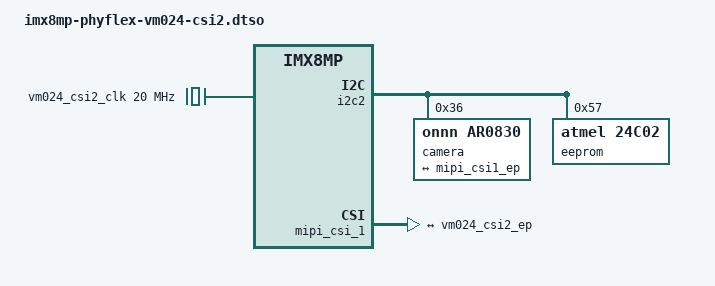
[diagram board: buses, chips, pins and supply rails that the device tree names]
// SPDX-License-Identifier: (GPL-2.0+ OR MIT)
/*
 * Copyright (C) 2026 PHYTEC Messtechnik GmbH
 * Author: Stefan Riedmüller <s.riedmueller@phytec.de>
 */

#include <dt-bindings/media/video-interfaces.h>

/dts-v1/;
/plugin/;

#include "imx8mp-phycore-isi-csi2.dtsi"
#include "imx8mp-phycore-isp-csi2.dtsi"

&{/} {
	vm024_csi2_clk: vm024-csi2-ext-clk {
		#clock-cells = <0>;
		compatible = "fixed-clock";
		clock-frequency = <20000000>;
	};
};

&i2c2 {
	#address-cells = <1>;
	#size-cells = <0>;

	camera@36 {
		#address-cells = <0x1>;
		#size-cells = <0x0>;

		compatible = "onnn,ar0830";
		reg = <0x36>;
		clocks = <&vm024_csi2_clk>;
		clock-names = "ext";
		isp-bus-info = "csi1";
		orientation = <2>;
		rotation = <0>;

		port@0 {
			reg = <0>;

			vm024_csi2_ep: endpoint {
				remote-endpoint = <&mipi_csi1_ep>;
				bus-type = <MEDIA_BUS_TYPE_CSI2_DPHY>;
				link-frequencies = /bits/ 64 <288000000 375000000 500000000 562500000 600000000 750000000>;
				data-lanes = <1 2 3 4>;
				clock-lanes = <0>;
			};
		};
	};

	eeprom@57 {
		compatible = "atmel,24c02";
		reg = <0x57>;
		pagesize = <16>;
	};
};

&mipi_csi_1 {
	#address-cells = <1>;
	#size-cells = <0>;

	port@1 {
		reg = <1>;
		mipi_csi1_ep: endpoint {
			remote-endpoint = <&vm024_csi2_ep>;
			data-lanes = <4>;
			csis-hs-settle = <13>;
			csis-clk-settle = <2>;
			csis-wclk;
		};
	};
};
